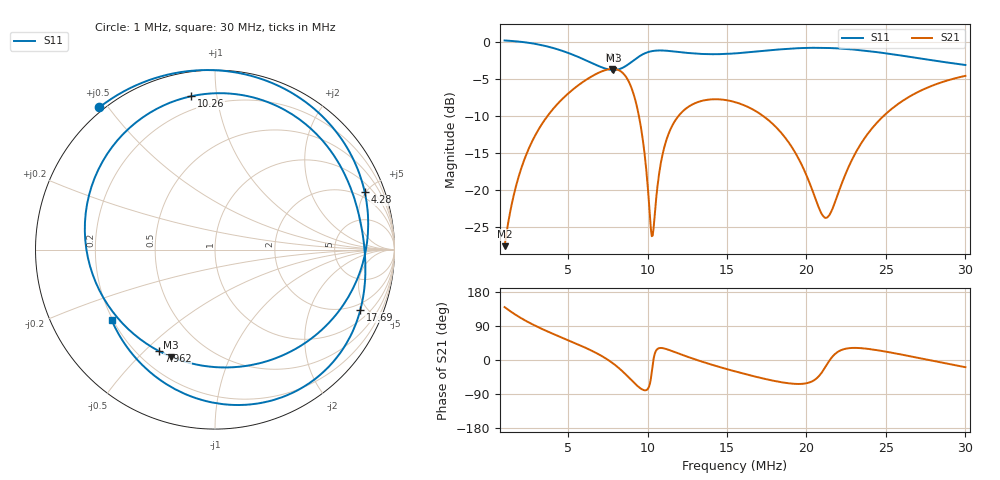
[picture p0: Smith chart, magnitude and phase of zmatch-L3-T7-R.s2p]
# HZ S RI R 50
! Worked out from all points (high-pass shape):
!   505 points, 1 MHz to 30 MHz, reference 50 ohm
!   highest |S21| = -3.65 dB at 7.79 MHz (marker M1); lowest = -27.6 dB at 1 MHz (marker M2)
!   |S21| within 3 dB of the highest: 5.18 MHz to 9.056 MHz (3.876 MHz wide, 54.5 % of centre); 27.14 MHz to end of sweep
!   lowest |S11| = -3.8 dB at 7.847 MHz (marker M3), VSWR 4.64, Z = 15.3 - j31.4 ohm
!   |S11| at or under -10 dB: nowhere
!   S12 and S22 are empty: the file has one direction only
!   S11 on the Smith chart (normalised r, x): 1 MHz: -0.01, +0.48; 4.28 MHz: 1.56, +4.93; 7.962 MHz: 0.28, -0.55; 10.26 MHz: 0.13, +0.85; 17.69 MHz: 1.57, -4.53; 30 MHz: 0.19, -0.30
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1000000  -0.6444 0.7924  -0.0317 0.027  0 0  0 0
2380960  0.1938 0.9701  -0.0373 0.1708  0 0  0 0
3359140  0.6361 0.7029  0.0397 0.2766  0 0  0 0
4279780  0.8344 0.3195  0.1596 0.3396  0 0  0 0
5833360  0.7007 -0.3285  0.4199 0.318  0 0  0 0
6926620  0.2861 -0.6227  0.5979 0.1589  0 0  0 0
7789720  -0.2082 -0.6111  0.6504 -0.0905  0 0  0 0
7847260  -0.2438 -0.5975  0.6469 -0.1107  0 0  0 0
7962340  -0.3147 -0.5642  0.6366 -0.152  0 0  0 0
9113140  -0.7202 0.2037  0.2319 -0.3799  0 0  0 0
9688540  -0.5098 0.6457  0.045 -0.2169  0 0  0 0
1.026394e7  -0.1332 0.8544  0.0416 -0.0252  0 0  0 0
1.066672e7  0.1174 0.8659  0.1001 0.0585  0 0  0 0
1.124212e7  0.3893 0.7775  0.2003 0.1065  0 0  0 0
1.216276e7  0.6345 0.5637  0.3255 0.0799  0 0  0 0
1.550008e7  0.8348 -0.0205  0.3391 -0.1958  0 0  0 0
1.76866e7  0.8102 -0.3341  0.1762 -0.2313  0 0  0 0
2.033344e7  0.5979 -0.6872  0.0557 -0.085  0 0  0 0
2.136916e7  0.4585 -0.7845  0.0657 -0.00723  0 0  0 0
2.321044e7  0.1723 -0.8646  0.1594 0.0987  0 0  0 0
2.51668e7  -0.123 -0.8218  0.3165 0.12  0 0  0 0
3.000016e7  -0.5758 -0.3934  0.557 -0.1914  0 0  0 0
